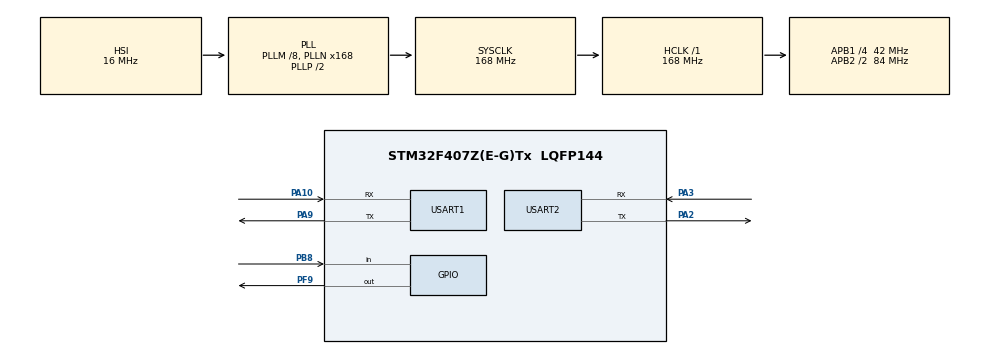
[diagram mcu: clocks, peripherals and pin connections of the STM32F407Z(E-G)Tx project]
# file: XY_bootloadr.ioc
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Dma.Request0=USART2_RX
Dma.USART2_RX.0.Direction=DMA_PERIPH_TO_MEMORY
Dma.USART2_RX.0.FIFOMode=DMA_FIFOMODE_DISABLE
Dma.USART2_RX.0.Instance=DMA1_Stream5
Dma.USART2_RX.0.MemDataAlignment=DMA_MDATAALIGN_BYTE
Dma.USART2_RX.0.MemInc=DMA_MINC_ENABLE
Dma.USART2_RX.0.Mode=DMA_NORMAL
Dma.USART2_RX.0.PeriphDataAlignment=DMA_PDATAALIGN_BYTE
Dma.USART2_RX.0.PeriphInc=DMA_PINC_DISABLE
Dma.USART2_RX.0.Priority=DMA_PRIORITY_LOW
Mcu.Family=STM32F4
Mcu.Name=STM32F407Z(E-G)Tx
Mcu.Package=LQFP144
NVIC.DMA1_Stream5_IRQn=true\:0\:0\:false\:false\:true\:false\:true\:true
NVIC.PriorityGroup=NVIC_PRIORITYGROUP_4
NVIC.USART2_IRQn=true\:0\:0\:false\:false\:true\:true\:true\:true
PA10.Mode=Asynchronous
PA10.Signal=USART1_RX
PA13.Mode=Serial_Wire
PA13.Signal=SYS_JTMS-SWDIO
PA14.Mode=Serial_Wire
PA14.Signal=SYS_JTCK-SWCLK
PA2.Mode=Asynchronous
PA2.Signal=USART2_TX
PA3.Mode=Asynchronous
PA3.Signal=USART2_RX
PA9.Mode=Asynchronous
PA9.Signal=USART1_TX
PB8.GPIO_PuPd=GPIO_PULLUP
PB8.Signal=GPIO_Input
PC14-OSC32_IN.Mode=LSE-External-Oscillator
PC14-OSC32_IN.Signal=RCC_OSC32_IN
PC15-OSC32_OUT.Mode=LSE-External-Oscillator
PC15-OSC32_OUT.Signal=RCC_OSC32_OUT
PF9.Signal=GPIO_Output
PH0-OSC_IN.Mode=HSE-External-Oscillator
PH0-OSC_IN.Signal=RCC_OSC_IN
PH1-OSC_OUT.Mode=HSE-External-Oscillator
PH1-OSC_OUT.Signal=RCC_OSC_OUT
ProjectManager.HeapSize=0x200
ProjectManager.StackSize=0x400
ProjectManager.TargetToolchain=STM32CubeIDE
RCC.48MHZClocksFreq_Value=84000000
RCC.AHBFreq_Value=168000000
RCC.APB1CLKDivider=RCC_HCLK_DIV4
RCC.APB1Freq_Value=42000000
RCC.APB1TimFreq_Value=84000000
RCC.APB2CLKDivider=RCC_HCLK_DIV2
RCC.APB2Freq_Value=84000000
RCC.APB2TimFreq_Value=168000000
RCC.CortexFreq_Value=168000000
RCC.HCLKFreq_Value=168000000
RCC.HSE_VALUE=8000000
RCC.HSI_VALUE=16000000
RCC.PLLM=8
RCC.PLLN=168
RCC.SYSCLKFreq_VALUE=168000000
RCC.SYSCLKSource=RCC_SYSCLKSOURCE_PLLCLK
RCC.VCOOutputFreq_Value=336000000
USART1.VirtualMode=VM_ASYNC
USART2.VirtualMode=VM_ASYNC
board=custom

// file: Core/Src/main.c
/* USER CODE BEGIN Header */
/**
  ******************************************************************************
  * @file           : main.c
  * @brief          : Main program body
  ******************************************************************************
  * @attention
  *
  * Copyright (c) 2026 STMicroelectronics.
  * All rights reserved.
  *
  * This software is licensed under terms that can be found in the LICENSE file
  * in the root directory of this software component.
  * If no LICENSE file comes with this software, it is provided AS-IS.
  *
  ******************************************************************************
  */
/* USER CODE END Header */
#include "main.h"
#include "dma.h"
#include "usart.h"
#include "gpio.h"

/* USER CODE BEGIN Includes */
#include "stm32f4xx_it.h"
#include "string.h"
#include "bsp_flash.h"
#include "firmware_manage.h"
#include "bootloader_define.h"
#include "simple_update.h"
#include "boot_jump.h"
extern uint8_t uart2_rx_buf[UART2_RX_BUF_SIZE];
extern uint8_t uart2_proc_buf[UART2_RX_BUF_SIZE];
extern volatile uint16_t uart2_rx_len;
extern volatile uint8_t uart2_rx_done;
extern volatile uint8_t uart2_rx_overflow;
/* USER CODE END Includes */

/* USER CODE BEGIN PD */
// FLASH_TEST_ABS_ADDR   测试绝对地址，Sector 11 起始地址
// FLASH_TEST_OFFSET     APP 分区内偏移
// FLASH_TEST_ERASE_SIZE 擦除 128KB，也就是 Sector 11
// FLASH_TEST_MAX_SIZE   最大测试 1024 字节
#define FLASH_TEST_ABS_ADDR      0x080E0000U
#define FLASH_TEST_OFFSET        (FLASH_TEST_ABS_ADDR - APP_ADDRESS)
#define FLASH_TEST_ERASE_SIZE    0x20000U
#define FLASH_TEST_MAX_SIZE      1024U

#define BOOT_KEY_GPIO_PORT       GPIOB
#define BOOT_KEY_GPIO_PIN        GPIO_PIN_8
#define BOOT_KEY_PRESSED_LEVEL   GPIO_PIN_RESET
#define BOOT_KEY_WAIT_TIMEOUT_MS 10000U
#define BOOT_KEY_SCAN_PERIOD_MS  10U
#define BOOT_KEY_DEBOUNCE_MS     50U
#define BOOT_KEY_LOG_PERIOD_MS   1000U
/* USER CODE END PD */

void SystemClock_Config(void);
/* USER CODE BEGIN PFP */
static void MOTA_Flash_Test_By_Uart_Data(uint8_t *data, uint16_t len);
static uint8_t Boot_Key_IsPressedDebounced(void);
static uint8_t Boot_WaitUpgradeKey(uint32_t timeout_ms);
static void Boot_EnterUpgradeMode(void);
/* USER CODE END PFP */

int main(void)
{

  /* MCU Configuration--------------------------------------------------------*/

  /* Reset of all peripherals, Initializes the Flash interface and the Systick. */
  HAL_Init();

  /* Configure the system clock */
  SystemClock_Config();

  /* Initialize all configured peripherals */
  MX_GPIO_Init();
  MX_DMA_Init();
  MX_USART1_UART_Init();
  MX_USART2_UART_Init();
  /* USER CODE BEGIN 2 */
  BSP_Printf("bootloader start\r\n");
  BSP_Printf("debug uart ready\r\n");
  BSP_Printf("upgrade key: PB8, pressed level: LOW\r\n");
  Simple_Update_Init();

  BSP_Printf("hold PB8 to enter upgrade mode, wait %lu ms...\r\n", (uint32_t)BOOT_KEY_WAIT_TIMEOUT_MS);

  if (Boot_WaitUpgradeKey(BOOT_KEY_WAIT_TIMEOUT_MS))
  {
    BSP_Printf("upgrade key pressed, stay bootloader\r\n");
    Boot_EnterUpgradeMode();
  }
  else
  {
    BSP_Printf("upgrade key not pressed\r\n");

    if (Boot_IsValidApp(APP_ADDRESS))
    {
      BSP_Printf("APP valid, jump to APP\r\n");
      Boot_JumpToApp(APP_ADDRESS);
    }

    BSP_Printf("APP invalid, stay bootloader\r\n");
    Boot_EnterUpgradeMode();
  }
  /* USER CODE END 2 */
  /* Infinite loop */
  while (1)
  {

    /* USER CODE BEGIN 3 */
    if (uart2_rx_done)
    {
      uart2_rx_done = 0;
      BSP_Printf("USART2 RX len = %d\r\n", uart2_rx_len);
      Simple_Update_Process(uart2_proc_buf, uart2_rx_len);
    }

    if (uart2_rx_overflow)
    {
      uart2_rx_overflow = 0;
      BSP_Printf("USART2 RX overflow, slow down sender\r\n");
    }
  }
  /* USER CODE END 3 */
}

void SystemClock_Config(void)
{
  RCC_OscInitTypeDef RCC_OscInitStruct = {0};
  RCC_ClkInitTypeDef RCC_ClkInitStruct = {0};

  /** Configure the main internal regulator output voltage
  */
  __HAL_RCC_PWR_CLK_ENABLE();
  __HAL_PWR_VOLTAGESCALING_CONFIG(PWR_REGULATOR_VOLTAGE_SCALE1);

  /** Initializes the RCC Oscillators according to the specified parameters
  * in the RCC_OscInitTypeDef structure.
  */
  RCC_OscInitStruct.OscillatorType = RCC_OSCILLATORTYPE_HSI;
  RCC_OscInitStruct.HSIState = RCC_HSI_ON;
  RCC_OscInitStruct.HSICalibrationValue = RCC_HSICALIBRATION_DEFAULT;
  RCC_OscInitStruct.PLL.PLLState = RCC_PLL_ON;
  RCC_OscInitStruct.PLL.PLLSource = RCC_PLLSOURCE_HSI;
  RCC_OscInitStruct.PLL.PLLM = 8;
  RCC_OscInitStruct.PLL.PLLN = 168;
  RCC_OscInitStruct.PLL.PLLP = RCC_PLLP_DIV2;
  RCC_OscInitStruct.PLL.PLLQ = 4;
  if (HAL_RCC_OscConfig(&RCC_OscInitStruct) != HAL_OK)
  {
    Error_Handler();
  }

  /** Initializes the CPU, AHB and APB buses clocks
  */
  RCC_ClkInitStruct.ClockType = RCC_CLOCKTYPE_HCLK|RCC_CLOCKTYPE_SYSCLK
                              |RCC_CLOCKTYPE_PCLK1|RCC_CLOCKTYPE_PCLK2;
  RCC_ClkInitStruct.SYSCLKSource = RCC_SYSCLKSOURCE_PLLCLK;
  RCC_ClkInitStruct.AHBCLKDivider = RCC_SYSCLK_DIV1;
  RCC_ClkInitStruct.APB1CLKDivider = RCC_HCLK_DIV4;
  RCC_ClkInitStruct.APB2CLKDivider = RCC_HCLK_DIV2;

  if (HAL_RCC_ClockConfig(&RCC_ClkInitStruct, FLASH_LATENCY_5) != HAL_OK)
  {
    Error_Handler();
  }
}

/* USER CODE BEGIN 4 */
static uint8_t Boot_Key_IsPressedDebounced(void)
{
  uint32_t stable_time = 0U;

  while (stable_time < BOOT_KEY_DEBOUNCE_MS)
  {
    if (HAL_GPIO_ReadPin(BOOT_KEY_GPIO_PORT, BOOT_KEY_GPIO_PIN) != BOOT_KEY_PRESSED_LEVEL)
    {
      return 0U;
    }

    HAL_Delay(BOOT_KEY_SCAN_PERIOD_MS);
    stable_time += BOOT_KEY_SCAN_PERIOD_MS;
  }

  return 1U;
}

static uint8_t Boot_WaitUpgradeKey(uint32_t timeout_ms)
{
  uint32_t start_tick = HAL_GetTick();
  uint32_t last_log_tick = start_tick;
  uint32_t elapsed = 0U;
  uint32_t remain = 0U;

  BSP_Printf("boot wait start, timeout = %lu ms\r\n", (uint32_t)timeout_ms);

  while ((HAL_GetTick() - start_tick) < timeout_ms)
  {
    elapsed = HAL_GetTick() - start_tick;

    if ((HAL_GetTick() - last_log_tick) >= BOOT_KEY_LOG_PERIOD_MS)
    {
      remain = (timeout_ms > elapsed) ? (timeout_ms - elapsed) : 0U;
      BSP_Printf("boot wait: %lu ms left, PB8=%d\r\n",
                 (uint32_t)remain,
                 (int)HAL_GPIO_ReadPin(BOOT_KEY_GPIO_PORT, BOOT_KEY_GPIO_PIN));
      last_log_tick = HAL_GetTick();
    }

    if (HAL_GPIO_ReadPin(BOOT_KEY_GPIO_PORT, BOOT_KEY_GPIO_PIN) == BOOT_KEY_PRESSED_LEVEL)
    {
      BSP_Printf("PB8 low detected, debounce...\r\n");

      if (Boot_Key_IsPressedDebounced())
      {
        BSP_Printf("PB8 debounce ok\r\n");
        return 1U;
      }

      BSP_Printf("PB8 debounce failed\r\n");
    }

    HAL_Delay(BOOT_KEY_SCAN_PERIOD_MS);
  }

  BSP_Printf("boot wait timeout\r\n");
  return 0U;
}

static void Boot_EnterUpgradeMode(void)
{
  BSP_Printf("waiting upgrade...\r\n");

  HAL_UART_Receive_DMA(&huart2, uart2_rx_buf, UART2_RX_BUF_SIZE);
  __HAL_UART_ENABLE_IT(&huart2, UART_IT_IDLE);
}

static void MOTA_Flash_Test_By_Uart_Data(uint8_t *data, uint16_t len)
{
  struct BSP_FLASH *app_part = NULL;
  uint8_t read_buf[FLASH_TEST_MAX_SIZE];
  uint16_t test_len = len;

  if (data == NULL || len == 0)
  {
    BSP_Printf("[flash test] invalid data\r\n");
    return;
  }

  if (test_len > FLASH_TEST_MAX_SIZE)
  {
    test_len = FLASH_TEST_MAX_SIZE;
    BSP_Printf("[flash test] data too long, cut to %d\r\n", test_len);
  }

  /*
   * 当前 flash_port_stm32f4.c 是按 32bit word 写入。
   * 测试阶段建议长度按 4 字节对齐。
   */
  if ((test_len % 4U) != 0U)
  {
    test_len = (test_len + 3U) & ~3U;
    BSP_Printf("[flash test] align len to %d\r\n", test_len);
  }

  memset(read_buf, 0, sizeof(read_buf));

  app_part = BSP_Flash_GetHandle(APP_PART_NAME);
  if (app_part == NULL)
  {
    BSP_Printf("[flash test] get app part fail\r\n");
    return;
  }

  BSP_Printf("[flash test] app addr: 0x%08lX, len: 0x%08lX\r\n",
         app_part->addr,
         app_part->len);

  BSP_Printf("[flash test] erase offset: 0x%08lX, size: 0x%08lX\r\n",
         (uint32_t)FLASH_TEST_OFFSET,
         (uint32_t)FLASH_TEST_ERASE_SIZE);

  if (BSP_Flash_Erase(app_part, FLASH_TEST_OFFSET, FLASH_TEST_ERASE_SIZE) < 0)
  {
    BSP_Printf("[flash test] erase fail\r\n");
    return;
  }

  BSP_Printf("[flash test] erase ok\r\n");

  if (BSP_Flash_Write(app_part, FLASH_TEST_OFFSET, data, test_len) < 0)
  {
    BSP_Printf("[flash test] write fail\r\n");
    return;
  }

  BSP_Printf("[flash test] write ok\r\n");

  if (BSP_Flash_Read(app_part, FLASH_TEST_OFFSET, read_buf, test_len) < 0)
  {
    BSP_Printf("[flash test] read fail\r\n");
    return;
  }

  BSP_Printf("[flash test] read ok\r\n");

  if (memcmp(read_buf, data, len) == 0)
  {
    BSP_Printf("[flash test] compare ok, raw len = %d, write len = %d\r\n",
           len,
           test_len);
  }
  else
  {
    BSP_Printf("[flash test] compare fail\r\n");

    BSP_Printf("[flash test] send data first 16 bytes:\r\n");
    for (uint16_t i = 0; i < len && i < 16; i++)
    {
      BSP_Printf("%02X ", data[i]);
    }
    BSP_Printf("\r\n");

    BSP_Printf("[flash test] read data first 16 bytes:\r\n");
    for (uint16_t i = 0; i < len && i < 16; i++)
    {
      BSP_Printf("%02X ", read_buf[i]);
    }
    BSP_Printf("\r\n");
  }
}
/* USER CODE END 4 */

void Error_Handler(void)
{
  __disable_irq();
  while (1)
  {
  }
}
#ifdef USE_FULL_ASSERT
/**
  * @brief  Reports the name of the source file and the source line number
  *         where the assert_param error has occurred.
  * @param  file: pointer to the source file name
  * @param  line: assert_param error line source number
  * @retval None
  */
void assert_failed(uint8_t *file, uint32_t line)
{
  /* USER CODE BEGIN 6 */
  /* User can add his own implementation to report the file name and line number,
     ex: BSP_Printf("Wrong parameters value: file %s on line %d\r\n", file, line) */
  /* USER CODE END 6 */
}
#endif /* USE_FULL_ASSERT */
